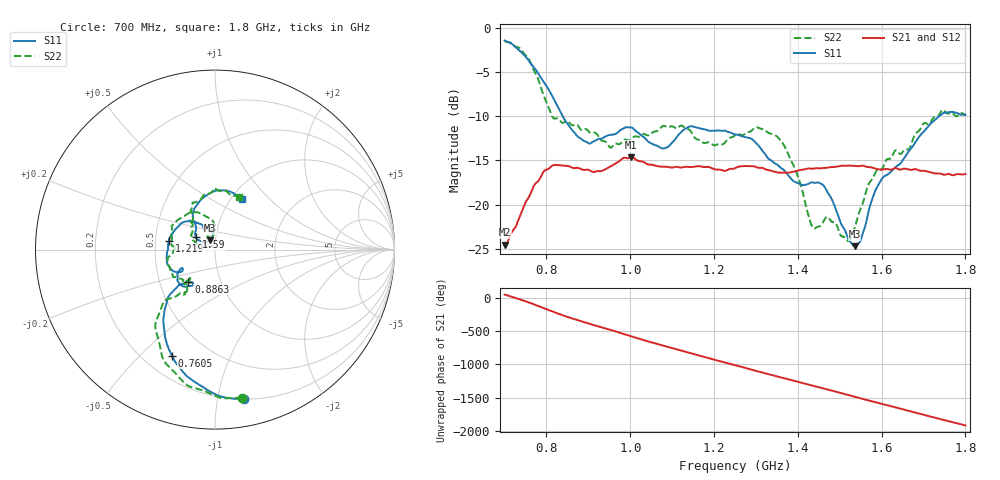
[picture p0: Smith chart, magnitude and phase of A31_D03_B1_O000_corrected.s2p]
! Created with skrf 1.9.0 (http://scikit-rf.org).
# Hz S RI R 50.0
!freq ReS11 ImS11 ReS21 ImS21 ReS12 ImS12 ReS22 ImS22
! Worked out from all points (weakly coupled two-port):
!   1601 points, 700 MHz to 1.8 GHz, reference 50 ohm
!   highest |S21| = -14.65 dB at 1.002 GHz (marker M1); lowest = -24.6 dB at 701.4 MHz (marker M2)
!   lowest |S11| = -24.7 dB at 1.535 GHz (marker M3), VSWR 1.12, Z = 47.2 + j4.92 ohm
!   |S11| at or under -10 dB: 838.8 MHz to 1.737 GHz (897.9 MHz wide, 69.7 % of centre)
!   |S22| runs from -24.2 to -1.5 dB; largest |S21 - S12| = 0.0034
!   S11 on the Smith chart (normalised r, x): 700 MHz: 0.20, -1.19; 760.5 MHz: 0.31, -0.63; 886.3 MHz: 0.70, -0.26; 1.219 GHz: 0.59, +0.06; 1.59 GHz: 0.80, +0.11; 1.8 GHz: 1.12, +0.71
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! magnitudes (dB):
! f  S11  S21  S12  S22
! 700 MHz  -1.4  -24.6  -24.3  -1.5
! 701.4 MHz  -1.4  -24.6  -24.2  -1.5
! 760.5 MHz  -3.9  -18.9  -18.8  -3.8
! 814.8 MHz  -7.8  -15.6  -15.6  -10.1
! 883.6 MHz  -12.6  -16.0  -15.9  -11.6
! 886.3 MHz  -12.7  -16.1  -15.9  -11.6
! 953 MHz  -12.1  -15.7  -15.7  -13.6
! 1.002 GHz  -11.3  -14.7  -14.8  -12.6
! 1.067 GHz  -13.4  -15.7  -15.6  -11.6
! 1.143 GHz  -11.1  -15.8  -15.7  -11.6
! 1.219 GHz  -11.6  -16.1  -16.1  -13.2
! 1.25 GHz  -12.1  -15.9  -15.8  -12.2
! 1.357 GHz  -15.8  -16.4  -16.3  -12.6
! 1.397 GHz  -17.5  -16.2  -16.2  -16.4
! 1.434 GHz  -17.5  -15.9  -15.9  -22.4
! 1.464 GHz  -18.0  -15.9  -15.8  -21.7
! 1.519 GHz  -23.7  -15.6  -15.6  -24.1
! 1.535 GHz  -24.7  -15.6  -15.6  -22.7
! 1.59 GHz  -18.0  -16.0  -16.0  -16.1
! 1.617 GHz  -16.5  -16.0  -16.0  -14.8
! 1.74 GHz  -9.9  -16.5  -16.5  -9.6
! 1.8 GHz  -9.8  -16.5  -16.5  -9.9
